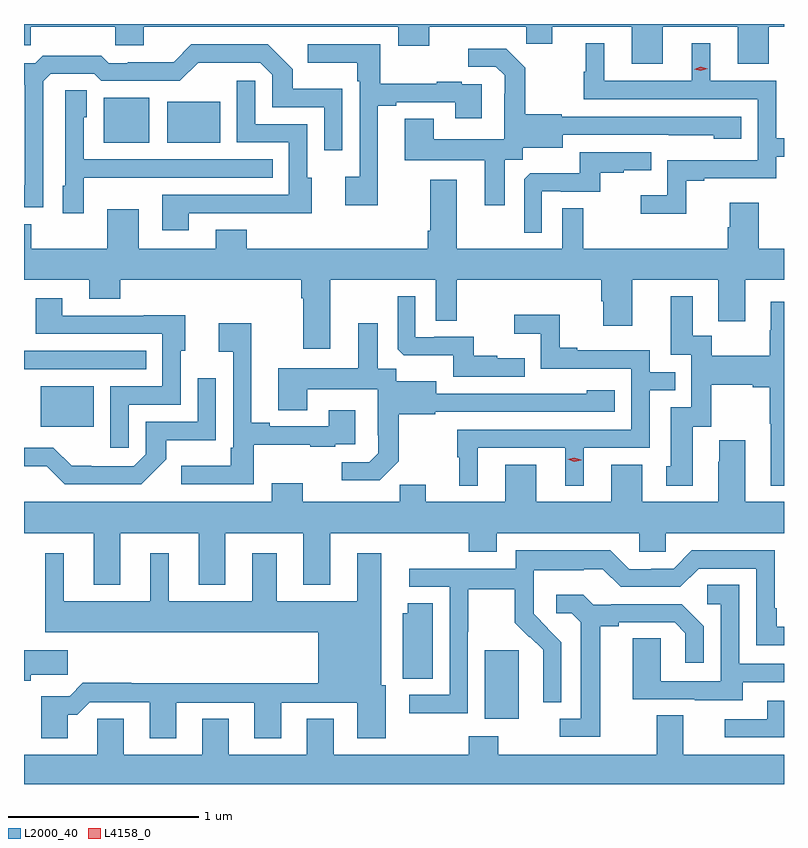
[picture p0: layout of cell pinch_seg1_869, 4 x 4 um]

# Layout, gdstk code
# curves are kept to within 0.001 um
import gdstk
lib = gdstk.Library(unit=1e-6, precision=1e-09)
def R(c, l, rs):  # rectangles x0, y0, x1, y1
    for r in rs: c.add(gdstk.rectangle(r[:2], r[2:], *l))
def P(c, l, *ps):  # polygons
    for p in ps: c.add(gdstk.Polygon(p, *l))
L2000_40 = (2000, 40)
L4158_0 = (4158, 0)

pinch_seg1_869 = lib.new_cell('pinch_seg1_869')
R(pinch_seg1_869, L2000_40, [(594.449,534.77,594.628,535.131), (592.112,536.306,592.39,536.521), (592.024,536.61,592.667,536.706), (592.445,537.803,592.684,538.039), (592.778,537.803,593.056,538.018)])
P(pinch_seg1_869, L2000_40, [(595.387,538.412),(595.781,538.412),(595.781,538.218),(595.945,538.218),(595.945,538.412),(596.024,538.412),(596.024,538.427),(592.024,538.427),(592.024,538.314),(592.059,538.314),(592.059,538.412),(592.504,538.412),(592.504,538.314),(592.654,538.314),(592.654,538.412),(593.993,538.412),(593.993,538.313),(594.157,538.313),(594.157,538.412),(594.667,538.412),(594.667,538.322),(594.805,538.322),(594.805,538.412),(595.223,538.412),(595.223,538.218),(595.387,538.218)],
  [(595.509,537.603),(595.603,537.603),(595.603,537.615),(595.983,537.615),(595.983,537.729),(596.024,537.729),(596.024,537.825),(595.983,537.825),(595.983,538.128),(595.636,538.128),(595.636,538.327),(595.538,538.327),(595.538,538.128),(595.078,538.128),(595.078,538.327),(594.98,538.327),(594.98,538.176),(594.969,538.176),(594.969,538.032),(595.887,538.032),(595.887,537.711),(595.41,537.711),(595.41,537.526),(595.269,537.526),(595.269,537.428),(595.509,537.428)],
  [(592.125,538.125),(592.164,538.164),(592.395,538.164),(592.431,538.128),(592.845,538.128),(592.94,538.223),(593.268,538.224),(593.331,538.161),(593.331,537.99),(593.604,537.99),(593.604,537.762),(593.7,537.762),(593.7,538.087),(593.439,538.087),(593.439,538.19),(593.308,538.32),(592.905,538.32),(592.811,538.226),(592.57,538.226),(592.57,538.221),(592.47,538.221),(592.431,538.261),(592.123,538.261),(592.083,538.221),(592.024,538.221),(592.024,538.106),(592.028,538.106),(592.028,537.578),(592.024,537.578),(592.024,537.462),(592.125,537.462)],
  [(593.887,537.996),(593.983,537.996),(593.983,538.014),(594.293,538.014),(594.293,537.93),(594.433,537.93),(594.433,538.11),(594.329,538.11),(594.329,538.123),(594.197,538.123),(594.197,538.112),(593.899,538.112),(593.899,538.32),(593.517,538.32),(593.517,538.223),(593.778,538.223),(593.778,538.127),(593.79,538.127),(593.79,537.622),(593.715,537.622),(593.715,537.474),(593.887,537.474)],
  [(594.553,537.712),(594.648,537.712),(594.648,537.776),(594.859,537.776),(594.859,537.843),(595.653,537.842),(595.653,537.824),(595.798,537.824),(595.798,537.939),(594.855,537.939),(594.855,537.952),(594.663,537.952),(594.663,538.197),(594.563,538.297),(594.363,538.297),(594.363,538.203),(594.507,538.203),(594.554,538.156),(594.554,538.061),(594.552,538.061),(594.552,537.82),(594.181,537.82),(594.181,537.929),(594.029,537.929),(594.029,537.71),(594.449,537.71),(594.449,537.474),(594.553,537.474)],
  [(592.891,537.432),(593.321,537.432),(593.321,537.431),(593.539,537.431),(593.539,537.618),(593.514,537.618),(593.514,537.9),(593.241,537.9),(593.241,538.129),(593.145,538.129),(593.145,537.804),(593.418,537.804),(593.418,537.528),(592.751,537.528),(592.751,537.342),(592.891,537.342)],
  [(592.338,537.617),(592.655,537.617),(592.655,537.618),(593.333,537.618),(593.333,537.714),(592.338,537.714),(592.338,537.936),(592.354,537.936),(592.354,538.079),(592.242,538.079),(592.242,537.576),(592.229,537.576),(592.229,537.432),(592.338,537.432)],
  [(594.75,537.546),(594.85,537.546),(594.85,537.543),(595.058,537.543),(595.058,537.645),(595.181,537.645),(595.181,537.656),(595.325,537.656),(595.325,537.753),(594.948,537.753),(594.948,537.641),(594.689,537.641),(594.657,537.609),(594.657,537.329),(594.75,537.329)],
  [(595.819,537.08),(596.024,537.08),(596.024,537.244),(595.891,537.244),(595.891,537.487),(595.739,537.487),(595.739,537.357),(595.727,537.357),(595.727,537.244),(594.967,537.244),(594.967,537.458),(594.858,537.458),(594.858,537.244),(594.301,537.244),(594.301,537.607),(594.161,537.607),(594.161,537.34),(594.149,537.34),(594.149,537.244),(593.197,537.244),(593.197,537.343),(593.033,537.343),(593.033,537.244),(592.627,537.244),(592.627,537.451),(592.463,537.451),(592.463,537.244),(592.063,537.244),(592.063,537.373),(592.024,537.373),(592.024,537.08),(592.367,537.08),(592.367,536.981),(592.531,536.981),(592.531,537.08),(593.483,537.08),(593.483,536.984),(593.495,536.984),(593.495,536.718),(593.635,536.718),(593.635,537.08),(594.192,537.08),(594.192,536.866),(594.301,536.866),(594.301,537.08),(595.061,537.08),(595.061,536.967),(595.073,536.967),(595.073,536.838),(595.225,536.838),(595.225,537.08),(595.679,537.08),(595.679,536.862),(595.819,536.862)],
  [(596.024,536.965),(595.955,536.965),(595.955,536.814),(595.948,536.814),(595.948,536.68),(595.645,536.68),(595.645,536.786),(595.543,536.786),(595.543,536.995),(595.427,536.995),(595.427,536.685),(595.536,536.685),(595.536,536.409),(595.427,536.409),(595.427,536.1),(595.403,536.1),(595.403,535.998),(595.543,535.998),(595.543,536.306),(595.641,536.306),(595.641,536.528),(595.859,536.528),(595.859,536.516),(595.948,536.516),(595.948,536.323),(595.955,536.323),(595.955,535.997),(596.024,535.997)],
  [(594.659,536.668),(594.515,536.668),(594.515,536.68),(594.392,536.68),(594.392,536.781),(594.184,536.781),(594.184,536.778),(594.084,536.778),(594.084,536.995),(593.991,536.995),(593.991,536.715),(594.023,536.684),(594.282,536.684),(594.282,536.571),(594.659,536.571)],
  [(592.575,536.424),(592.848,536.424),(592.848,536.706),(592.873,536.706),(592.873,536.894),(592.655,536.894),(592.655,536.892),(592.225,536.892),(592.225,536.983),(592.085,536.983),(592.085,536.796),(592.752,536.796),(592.752,536.52),(592.479,536.52),(592.479,536.196),(592.575,536.196)],
  [(594.412,536.196),(594.872,536.196),(594.872,535.997),(594.97,535.997),(594.97,536.196),(595.317,536.196),(595.317,536.499),(595.451,536.499),(595.451,536.595),(595.317,536.595),(595.317,536.709),(594.937,536.709),(594.937,536.722),(594.843,536.722),(594.843,536.897),(594.603,536.897),(594.603,536.798),(594.744,536.798),(594.744,536.613),(595.221,536.613),(595.221,536.292),(594.303,536.292),(594.303,536.148),(594.314,536.148),(594.314,535.997),(594.412,535.997)],
  [(593.997,536.127),(593.997,536.373),(594.189,536.373),(594.189,536.385),(595.132,536.385),(595.132,536.5),(594.987,536.5),(594.987,536.482),(594.193,536.481),(594.193,536.548),(593.982,536.548),(593.982,536.612),(593.887,536.612),(593.887,536.851),(593.783,536.851),(593.783,536.614),(593.363,536.614),(593.363,536.395),(593.515,536.395),(593.515,536.504),(593.886,536.504),(593.886,536.263),(593.888,536.263),(593.888,536.168),(593.841,536.121),(593.697,536.121),(593.697,536.027),(593.897,536.027)],
  [(593.233,536.213),(593.531,536.213),(593.531,536.202),(593.663,536.202),(593.663,536.214),(593.767,536.214),(593.767,536.395),(593.627,536.395),(593.627,536.31),(593.317,536.31),(593.317,536.329),(593.221,536.329),(593.221,536.851),(593.049,536.851),(593.049,536.702),(593.124,536.702),(593.124,536.197),(593.112,536.197),(593.112,536.101),(592.851,536.101),(592.851,536.004),(593.233,536.004)],
  [(592.773,536.135),(592.773,536.237),(593.034,536.237),(593.034,536.563),(592.938,536.563),(592.938,536.334),(592.665,536.334),(592.665,536.163),(592.602,536.1),(592.378,536.1),(592.378,536.102),(592.274,536.102),(592.179,536.196),(592.024,536.196),(592.024,536.099),(592.145,536.099),(592.239,536.004),(592.642,536.004)],
  [(592.531,535.748),(592.943,535.748),(592.943,535.475),(593.083,535.475),(593.083,535.748),(593.495,535.748),(593.495,535.475),(593.635,535.475),(593.635,535.748),(594.364,535.748),(594.364,535.649),(594.511,535.649),(594.511,535.748),(595.263,535.748),(595.263,535.65),(595.401,535.65),(595.401,535.748),(596.024,535.748),(596.024,535.912),(595.819,535.912),(595.819,536.236),(595.682,536.236),(595.682,536.123),(595.679,536.123),(595.679,535.912),(595.279,535.912),(595.279,536.107),(595.115,536.107),(595.115,535.912),(594.721,535.912),(594.721,536.107),(594.557,536.107),(594.557,535.912),(594.139,535.912),(594.139,536.003),(594.001,536.003),(594.001,535.912),(593.491,535.912),(593.491,536.011),(593.327,536.011),(593.327,535.912),(592.024,535.912),(592.024,535.748),(592.391,535.748),(592.391,535.475),(592.531,535.475)],
  [(594.36,535.228),(594.363,535.228),(594.363,535.452),(594.607,535.452),(594.607,535.277),(594.684,535.2),(594.687,535.203),(594.758,535.133),(594.758,535.01),(594.756,535.01),(594.756,534.856),(594.852,534.856),(594.852,535.174),(594.706,535.322),(594.706,535.419),(594.708,535.419),(594.708,535.553),(594.971,535.553),(594.971,535.557),(595.071,535.557),(595.164,535.464),(595.479,535.464),(595.575,535.56),(595.878,535.56),(595.878,535.158),(596.024,535.158),(596.024,535.254),(595.987,535.254),(595.987,535.351),(595.974,535.351),(595.974,535.656),(595.539,535.656),(595.443,535.56),(595.325,535.56),(595.325,535.557),(595.209,535.557),(595.109,535.657),(594.612,535.657),(594.612,535.56),(594.051,535.56),(594.051,535.464),(594.264,535.464),(594.264,534.897),(594.051,534.897),(594.051,534.799),(594.36,534.799)],
  [(592.255,534.791),(592.304,534.791),(592.371,534.858),(592.685,534.858),(592.685,534.669),(592.825,534.669),(592.825,534.855),(593.237,534.855),(593.237,534.669),(593.377,534.669),(593.377,534.855),(593.777,534.855),(593.777,534.669),(593.929,534.669),(593.929,534.948),(593.905,534.948),(593.905,535.642),(593.777,535.642),(593.777,535.39),(593.353,535.39),(593.353,535.642),(593.225,535.642),(593.225,535.39),(592.786,535.39),(592.786,535.642),(592.688,535.642),(592.688,535.39),(592.234,535.39),(592.234,535.642),(592.136,535.642),(592.136,535.226),(593.573,535.226),(593.573,534.956),(592.589,534.956),(592.589,534.959),(592.334,534.959),(592.264,534.889),(592.115,534.889),(592.115,534.669),(592.255,534.669)],
  [(595.807,534.963),(596.024,534.963),(596.024,535.059),(595.788,535.059),(595.788,535.475),(595.62,535.475),(595.62,535.374),(595.692,535.374),(595.692,534.969),(595.374,534.969),(595.374,535.193),(595.229,535.193),(595.229,534.873),(595.553,534.873),(595.553,534.869),(595.807,534.869)],
  [(595.057,535.256),(595.153,535.256),(595.153,535.278),(595.448,535.278),(595.505,535.221),(595.505,535.065),(595.602,535.065),(595.602,535.258),(595.486,535.374),(595.114,535.374),(595.114,535.371),(595.02,535.371),(594.968,535.423),(594.825,535.423),(594.825,535.326),(594.906,535.326),(594.953,535.279),(594.953,534.771),(594.843,534.771),(594.843,534.675),(595.057,534.675)],
  [(594.175,535.379),(594.044,535.379),(594.044,535.326),(594.017,535.326),(594.017,534.982),(594.175,534.982)],
  [(592.06,535.003),(592.255,535.003),(592.255,535.132),(592.024,535.132),(592.024,534.971),(592.06,534.971)],
  [(596.024,534.864),(595.937,534.864),(595.937,534.768),(595.713,534.768),(595.713,534.672),(596.024,534.672)],
  [(596.024,534.58),(595.495,534.58),(595.495,534.788),(595.355,534.788),(595.355,534.58),(594.519,534.58),(594.519,534.679),(594.364,534.679),(594.364,534.58),(593.653,534.58),(593.653,534.77),(593.513,534.77),(593.513,534.58),(593.101,534.58),(593.101,534.77),(592.961,534.77),(592.961,534.58),(592.549,534.58),(592.549,534.77),(592.41,534.77),(592.41,534.58),(592.024,534.58),(592.024,534.427),(596.024,534.427)])
P(pinch_seg1_869, L4158_0, [(594.921,536.124),(594.885,536.135),(594.885,536.135),(594.885,536.135),(594.921,536.144),(594.957,536.133),(594.957,536.132),(594.957,536.132)],
  [(595.587,538.181),(595.551,538.189),(595.551,538.19),(595.551,538.19),(595.587,538.201),(595.623,538.192),(595.623,538.192),(595.623,538.192)])

lib.write_gds('pinch_seg1_869.gds')
